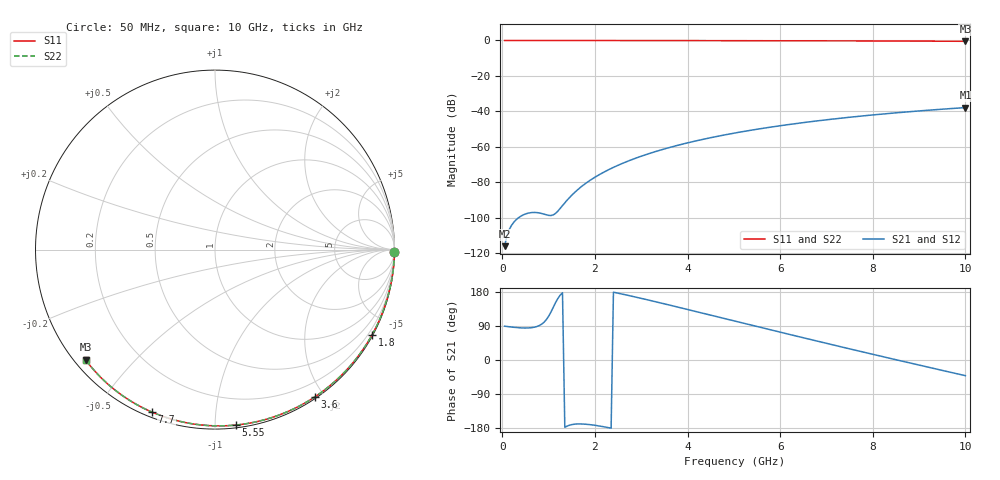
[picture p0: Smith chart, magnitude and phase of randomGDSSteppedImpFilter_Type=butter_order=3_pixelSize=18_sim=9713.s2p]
! freq	dB(S11)	phase(S11)	dB(S12)	phase(S12)
!  dB(S21)	phase(S21)	dB(S22)	phase(S22)
!S-par simulation data
#  GHz  S  DB  R 50
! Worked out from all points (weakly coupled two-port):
!   200 points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, 50 MHz to 10 GHz, reference 50 ohm
!   highest |S21| = -37.89 dB at 10 GHz (marker M1); lowest = -116.1 dB at 50 MHz (marker M2)
!   lowest |S11| = -0.5 dB at 10 GHz (marker M3), VSWR 36.88, Z = 1.54 - j18.4 ohm
!   |S11| at or under -10 dB: nowhere
!   |S22| runs from -0.5 to 0.0 dB; largest |S21 - S12| = 0
!   S11 on the Smith chart (normalised r, x): 50 MHz: open; 1.8 GHz: 0.03, -3.93; 3.6 GHz: 0.02, -1.89; 5.55 GHz: 0.02, -1.12; 7.7 GHz: 0.02, -0.68; 10 GHz: 0.03, -0.37
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0.05  -0.00 -0.8  -116.08 89.2  -116.08 89.2  -0.00 -0.8
0.45  -0.01 -7.3  -98.46 84.5  -98.46 84.5  -0.01 -7.3
0.9  -0.02 -14.4  -98.00 99.5  -98.00 99.5  -0.02 -14.4
1.75  -0.04 -27.8  -81.62 -169.0  -81.62 -169.0  -0.04 -27.8
1.8  -0.04 -28.6  -80.65 -169.4  -80.65 -169.4  -0.04 -28.6
1.85  -0.04 -29.4  -79.73 -170.0  -79.73 -170.0  -0.04 -29.4
2  -0.04 -31.7  -77.18 -172.3  -77.18 -172.3  -0.04 -31.7
2.15  -0.04 -34.0  -74.91 -175.3  -74.91 -175.3  -0.04 -34.0
2.35  -0.05 -37.1  -72.23 -179.9  -72.23 -179.9  -0.05 -37.1
2.55  -0.05 -40.1  -69.85 175.0  -69.85 175.0  -0.05 -40.1
2.95  -0.06 -46.2  -65.78 164.1  -65.78 164.1  -0.06 -46.2
3.4  -0.07 -52.9  -61.97 151.1  -61.97 151.1  -0.07 -52.9
3.6  -0.08 -55.8  -60.48 145.2  -60.48 145.2  -0.08 -55.8
4.3  -0.09 -65.9  -55.98 124.4  -55.98 124.4  -0.09 -65.9
5.05  -0.12 -76.5  -52.09 101.9  -52.09 101.9  -0.12 -76.5
5.55  -0.14 -83.3  -49.89 86.9  -49.89 86.9  -0.14 -83.3
6.1  -0.16 -90.6  -47.75 70.5  -47.75 70.5  -0.16 -90.6
6.7  -0.19 -98.5  -45.70 52.8  -45.70 52.8  -0.19 -98.5
7.7  -0.25 -111.2  -42.79 23.6  -42.79 23.6  -0.25 -111.2
8.35  -0.31 -119.3  -41.19 5.0  -41.19 5.0  -0.31 -119.3
9.2  -0.38 -129.8  -39.36 -19.0  -39.36 -19.0  -0.38 -129.8
10  -0.47 -139.6  -37.89 -41.4  -37.89 -41.4  -0.47 -139.6
